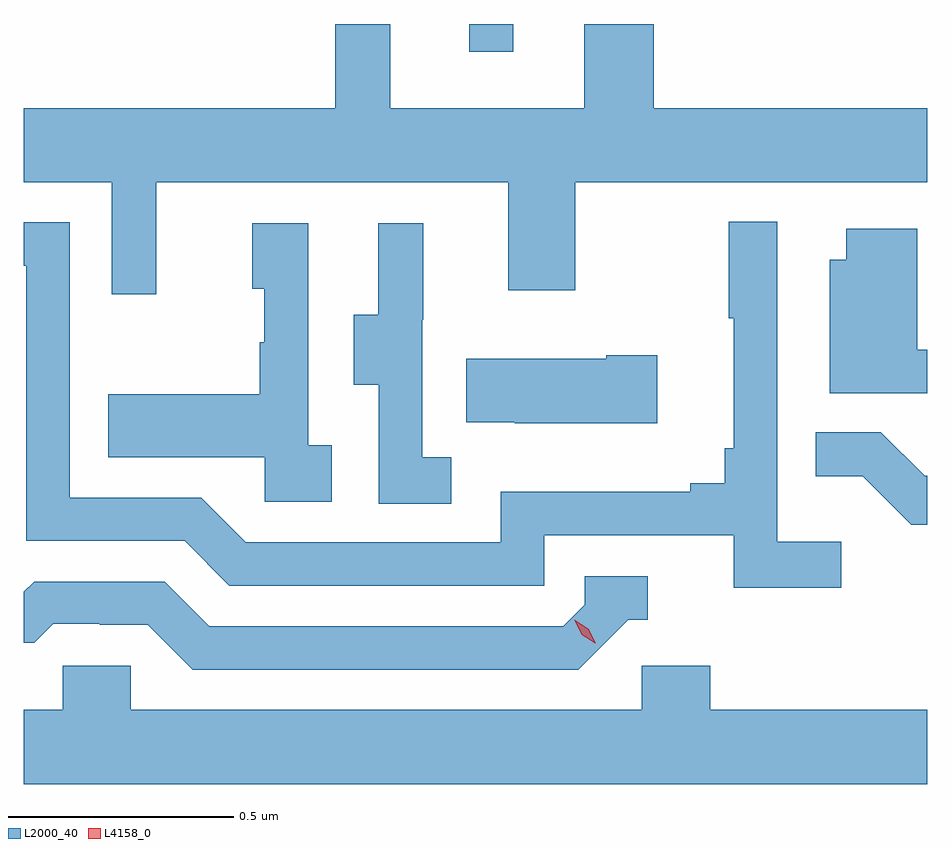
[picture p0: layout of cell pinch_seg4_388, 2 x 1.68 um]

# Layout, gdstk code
import gdstk
lib = gdstk.Library(unit=1e-6, precision=1e-09)
def R(c, l, rs):  # rectangles x0, y0, x1, y1
    for r in rs: c.add(gdstk.rectangle(r[:2], r[2:], *l))
def P(c, l, *ps):  # polygons
    for p in ps: c.add(gdstk.Polygon(p, *l))
L2000_40 = (2000, 40)
L4158_0 = (4158, 0)

pinch_seg4_388 = lib.new_cell('pinch_seg4_388')
R(pinch_seg4_388, L2000_40, [(986.408,785.121,986.506,785.182)])
P(pinch_seg4_388, L2000_40, [(985.715,784.832),(986.495,784.832),(986.495,784.593),(986.643,784.593),(986.643,784.832),(987.422,784.832),(987.422,784.996),(986.816,784.996),(986.816,785.182),(986.663,785.182),(986.663,784.996),(986.233,784.996),(986.233,785.182),(986.112,785.182),(986.112,784.996),(985.422,784.996),(985.422,784.832),(985.617,784.832),(985.617,784.584),(985.715,784.584)],
  [(987.232,784.036),(987.09,784.036),(987.09,784.744),(986.982,784.744),(986.982,784.531),(986.993,784.531),(986.993,784.243),(986.974,784.243),(986.974,784.166),(986.897,784.166),(986.897,784.147),(986.478,784.147),(986.478,784.035),(985.914,784.035),(985.815,784.134),(985.524,784.134),(985.524,784.743),(985.422,784.743),(985.422,784.647),(985.428,784.647),(985.428,784.038),(985.778,784.038),(985.877,783.939),(986.574,783.939),(986.574,784.05),(986.993,784.05),(986.993,783.934),(987.232,783.934)],
  [(986.368,784.223),(986.304,784.223),(986.304,784.527),(986.306,784.527),(986.306,784.741),(986.207,784.741),(986.207,784.539),(986.153,784.539),(986.153,784.384),(986.208,784.384),(986.208,784.12),(986.368,784.12)],
  [(986.104,784.25),(986.052,784.25),(986.052,784.741),(985.928,784.741),(985.928,784.596),(985.954,784.596),(985.954,784.478),(985.944,784.478),(985.944,784.363),(985.609,784.363),(985.609,784.223),(985.956,784.223),(985.956,784.125),(986.104,784.125)],
  [(987.422,784.461),(987.4,784.461),(987.4,784.729),(987.242,784.729),(987.242,784.66),(987.206,784.66),(987.206,784.365),(987.422,784.365)],
  [(986.824,784.449),(986.711,784.449),(986.711,784.441),(986.401,784.441),(986.401,784.301),(986.509,784.301),(986.509,784.298),(986.824,784.298)],
  [(987.422,784.182),(987.416,784.182),(987.319,784.279),(987.175,784.279),(987.175,784.181),(987.279,784.181),(987.386,784.074),(987.422,784.074)],
  [(986.76,783.864),(986.803,783.864),(986.803,783.96),(986.664,783.96),(986.664,783.897),(986.616,783.849),(985.833,783.849),(985.734,783.948),(985.445,783.948),(985.422,783.925),(985.422,783.813),(985.445,783.813),(985.487,783.855),(985.59,783.855),(985.59,783.852),(985.697,783.852),(985.796,783.753),(986.649,783.753)],
  [(987.422,783.664),(986.942,783.664),(986.942,783.762),(986.79,783.762),(986.79,783.664),(985.659,783.664),(985.659,783.762),(985.509,783.762),(985.509,783.664),(985.422,783.664),(985.422,783.5),(987.422,783.5)])
P(pinch_seg4_388, L4158_0, [(986.687,783.811),(986.657,783.83),(986.64,783.863),(986.64,783.863),(986.64,783.863),(986.671,783.844),(986.688,783.812),(986.688,783.811)])

lib.write_gds('pinch_seg4_388.gds')
